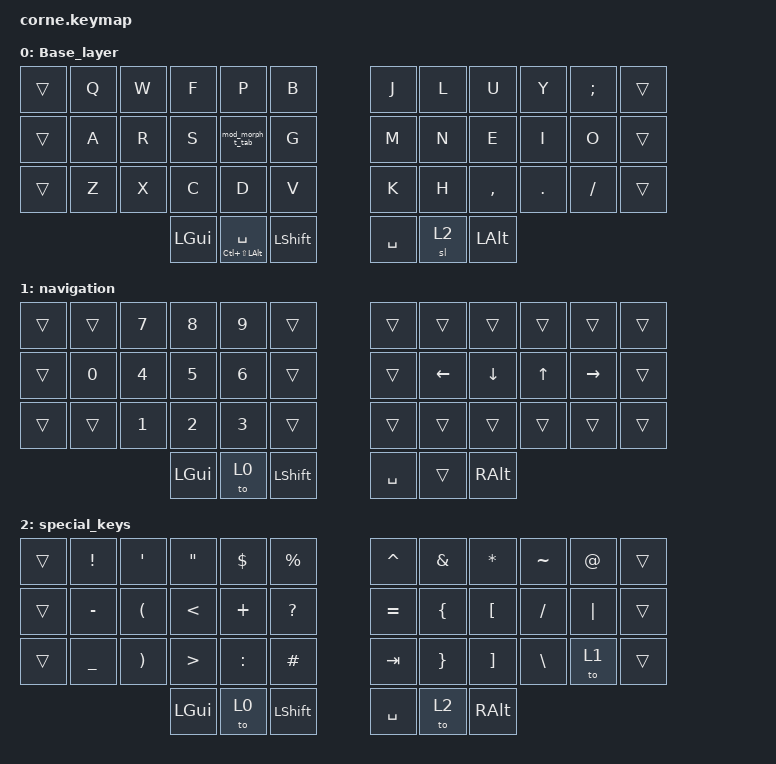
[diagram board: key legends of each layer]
#include <behaviors.dtsi>
#include <dt-bindings/zmk/keys.h>

#define BASE 0
#define LOWER 1
#define RAISE 2

/ {
    combos {
        compatible = "zmk,combos";

        combo_enter {
            timeout-ms = <50>;
            key-positions = <19 20 21>;
            layers = <0 1 2>;
            bindings = <&kp RET>;
        };

        combo_backspace {
            timeout-ms = <50>;
            key-positions = <19 20>;
            layers = <0 1 2>;
            bindings = <&kp BSPC>;
        };

        combo_esc {
            timeout-ms = <50>;
            key-positions = <16 15 14>;
            bindings = <&kp ESC>;
            layers = <0 1 2>;
        };

        combo_ctrl {
            timeout-ms = <50>;
            key-positions = <16 15>;
            layers = <0 1 2>;
            bindings = <&sk LEFT_CONTROL>;
        };
    };

    behaviors {
        mod_morph_t_tab: mod_morph_t_tab {
            compatible = "zmk,behavior-mod-morph";
            label = "MOD_MORPH_T_TAB";
            #binding-cells = <0>;
            mods = <(MOD_LALT)>;
            keep-mods = <(MOD_LALT)>;
            bindings = <&kp T>, <&kp TAB>;
        };
    };

    keymap {
        compatible = "zmk,keymap";

        Base_layer {
            bindings = <
&trans  &kp Q  &kp W  &kp F         &kp P                       &kp B             &kp J      &kp L  &kp U         &kp Y       &kp SEMI   &trans
&trans  &kp A  &kp R  &kp S         &mod_morph_t_tab            &kp G             &kp M      &kp N  &kp E         &kp I       &kp O      &trans
&trans  &kp Z  &kp X  &kp C         &kp D                       &kp V             &kp K      &kp H  &kp COMMA     &kp PERIOD  &kp SLASH  &trans
                      &kp LEFT_GUI  &mt LC(LS(LEFT_ALT)) SPACE  &kp LEFT_SHIFT    &kp SPACE  &sl 2  &kp LEFT_ALT
            >;
        };

        navigation {
            bindings = <
&trans  &trans        &kp NUMBER_7  &kp NUMBER_8  &kp NUMBER_9  &trans            &trans     &trans    &trans         &trans  &trans     &trans
&trans  &kp NUMBER_0  &kp NUMBER_4  &kp NUMBER_5  &kp NUMBER_6  &trans            &trans     &kp LEFT  &kp DOWN       &kp UP  &kp RIGHT  &trans
&trans  &trans        &kp NUMBER_1  &kp NUMBER_2  &kp NUMBER_3  &trans            &trans     &trans    &trans         &trans  &trans     &trans
                                    &kp LEFT_GUI  &to 0         &kp LEFT_SHIFT    &kp SPACE  &trans    &kp RIGHT_ALT
            >;
        };

        special_keys {
            bindings = <
&trans  &kp EXCLAMATION  &kp SINGLE_QUOTE       &kp DOUBLE_QUOTES  &kp DOLLAR  &kp PERCENT       &kp CARET  &kp AMPERSAND    &kp ASTERISK       &kp TILDE      &kp AT_SIGN  &trans
&trans  &kp MINUS        &kp LEFT_PARENTHESIS   &kp LT             &kp PLUS    &kp QUESTION      &kp EQUAL  &kp LEFT_BRACE   &kp LEFT_BRACKET   &kp SLASH      &kp PIPE     &trans
&trans  &kp UNDERSCORE   &kp RIGHT_PARENTHESIS  &kp GT             &kp COLON   &kp HASH          &kp TAB    &kp RIGHT_BRACE  &kp RIGHT_BRACKET  &kp BACKSLASH  &to 1        &trans
                                                &kp LEFT_GUI       &to 0       &kp LEFT_SHIFT    &kp SPACE  &to 2            &kp RIGHT_ALT
            >;
        };
    };
};
